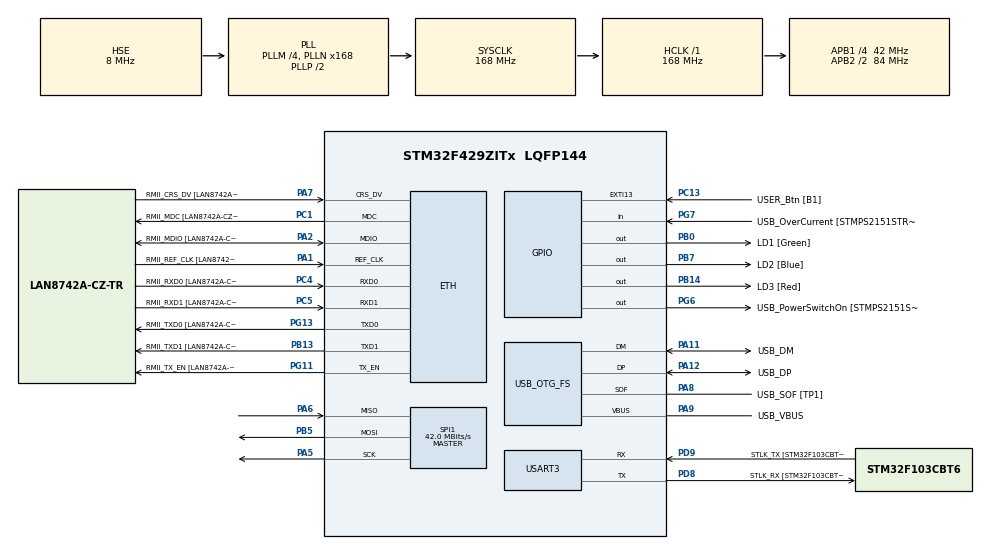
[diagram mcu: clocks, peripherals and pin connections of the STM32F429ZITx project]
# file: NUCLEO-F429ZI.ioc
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ADC1.Channel-0\#ChannelRegularConversion=ADC_CHANNEL_TEMPSENSOR
ADC1.Channel-1\#ChannelRegularConversion=ADC_CHANNEL_VREFINT
ADC1.NbrOfConversion=2
ADC1.NbrOfConversionFlag=1
ADC1.Rank-0\#ChannelRegularConversion=1
ADC1.Rank-1\#ChannelRegularConversion=2
ADC1.SamplingTime-0\#ChannelRegularConversion=ADC_SAMPLETIME_480CYCLES
ADC1.SamplingTime-1\#ChannelRegularConversion=ADC_SAMPLETIME_480CYCLES
ADC1.ScanConvMode=ENABLE
ADC1.master=1
ETH.MediaInterface=HAL_ETH_RMII_MODE
ETH.PHY_Name=LAN8742A_PHY_ADDRESS
ETH.PHY_Value=0
ETH.PhyAddress=0
LWIP.BSP.number=1
LWIP.GATEWAY_ADDRESS=192.168.001.001
LWIP.IP_ADDRESS=192.168.001.080
LWIP.LWIP_DHCP=0
LWIP.LWIP_DNS=1
LWIP.LWIP_STATS=1
LWIP.MEMP_NUM_PBUF=10
LWIP.MEMP_NUM_TCP_PCB_LISTEN=2
LWIP.MEM_SIZE=4096
LWIP.NETMASK_ADDRESS=255.255.255.000
LWIP.PBUF_POOL_BUFSIZE=256
LWIP.PBUF_POOL_SIZE=128
LWIP.Version=v2.1.2_Cube
LWIP0.BSP.STBoard=false
LWIP0.BSP.api=BSP_COMPONENT_DRIVER
LWIP0.BSP.component=LAN8742
LWIP0.BSP.instance=LAN8742
LWIP0.BSP.name=Driver_PHY
LWIP0.BSP.semaphore=S_LAN8742
LWIP0.BSP.solution=LAN8742
Mcu.Family=STM32F4
Mcu.Name=STM32F429ZITx
Mcu.Package=LQFP144
NVIC.PriorityGroup=NVIC_PRIORITYGROUP_4
PA1.GPIO_Label=RMII_REF_CLK [LAN8742A-CZ-TR_REFCLK0]
PA1.Mode=RMII
PA1.Signal=ETH_REF_CLK
PA10.GPIO_Label=USB_ID
PA10.Signal=USB_OTG_FS_ID
PA11.GPIO_Label=USB_DM
PA11.Mode=Device_Only
PA11.Signal=USB_OTG_FS_DM
PA12.GPIO_Label=USB_DP
PA12.Mode=Device_Only
PA12.Signal=USB_OTG_FS_DP
PA13.GPIO_Label=TMS
PA13.Mode=Serial_Wire
PA13.Signal=SYS_JTMS-SWDIO
PA14.GPIO_Label=TCK
PA14.Mode=Serial_Wire
PA14.Signal=SYS_JTCK-SWCLK
PA2.GPIO_Label=RMII_MDIO [LAN8742A-CZ-TR_MDIO]
PA2.Mode=RMII
PA2.Signal=ETH_MDIO
PA5.Mode=Full_Duplex_Master
PA5.Signal=SPI1_SCK
PA6.Mode=Full_Duplex_Master
PA6.Signal=SPI1_MISO
PA7.GPIO_Label=RMII_CRS_DV [LAN8742A-CZ-TR_CRS_DV]
PA7.Mode=RMII
PA7.Signal=ETH_CRS_DV
PA8.GPIO_Label=USB_SOF [TP1]
PA8.Mode=Activate_SOF_FS
PA8.Signal=USB_OTG_FS_SOF
PA9.GPIO_Label=USB_VBUS
PA9.Mode=Activate_VBUS
PA9.Signal=USB_OTG_FS_VBUS
PB0.GPIO_Label=LD1 [Green]
PB0.Signal=GPIO_Output
PB13.GPIO_Label=RMII_TXD1 [LAN8742A-CZ-TR_TXD1]
PB13.Mode=RMII
PB13.Signal=ETH_TXD1
PB14.GPIO_Label=LD3 [Red]
PB14.Signal=GPIO_Output
PB5.Mode=Full_Duplex_Master
PB5.Signal=SPI1_MOSI
PB7.GPIO_Label=LD2 [Blue]
PB7.Signal=GPIO_Output
PC1.GPIO_Label=RMII_MDC [LAN8742A-CZ-TR_MDC]
PC1.Mode=RMII
PC1.Signal=ETH_MDC
PC13.GPIO_Label=USER_Btn [B1]
PC13.Signal=GPXTI13
PC14/OSC32_IN.Mode=LSE-External-Oscillator
PC14/OSC32_IN.Signal=RCC_OSC32_IN
PC15/OSC32_OUT.Mode=LSE-External-Oscillator
PC15/OSC32_OUT.Signal=RCC_OSC32_OUT
PC4.GPIO_Label=RMII_RXD0 [LAN8742A-CZ-TR_RXD0]
PC4.Mode=RMII
PC4.Signal=ETH_RXD0
PC5.GPIO_Label=RMII_RXD1 [LAN8742A-CZ-TR_RXD1]
PC5.Mode=RMII
PC5.Signal=ETH_RXD1
PD8.GPIO_Label=STLK_RX [STM32F103CBT6_PA3]
PD8.Mode=Asynchronous
PD8.Signal=USART3_TX
PD9.GPIO_Label=STLK_TX [STM32F103CBT6_PA2]
PD9.Mode=Asynchronous
PD9.Signal=USART3_RX
PG11.GPIO_Label=RMII_TX_EN [LAN8742A-CZ-TR_TXEN]
PG11.Mode=RMII
PG11.Signal=ETH_TX_EN
PG13.GPIO_Label=RMII_TXD0 [LAN8742A-CZ-TR_TXD0]
PG13.Mode=RMII
PG13.Signal=ETH_TXD0
PG6.GPIO_Label=USB_PowerSwitchOn [STMPS2151STR_EN]
PG6.Signal=GPIO_Output
PG7.GPIO_Label=USB_OverCurrent [STMPS2151STR_FAULT]
PG7.Signal=GPIO_Input
PH0/OSC_IN.GPIO_Label=MCO [STM32F103CBT6_PA8]
PH0/OSC_IN.Mode=HSE-External-Clock-Source
PH0/OSC_IN.Signal=RCC_OSC_IN
PH1/OSC_OUT.Mode=HSE-External-Clock-Source
PH1/OSC_OUT.Signal=RCC_OSC_OUT
ProjectManager.HeapSize=0x200
ProjectManager.StackSize=0x400
ProjectManager.TargetToolchain=STM32CubeIDE
RCC.48MHZClocksFreq_Value=48000000
RCC.AHBFreq_Value=168000000
RCC.APB1CLKDivider=RCC_HCLK_DIV4
RCC.APB1Freq_Value=42000000
RCC.APB1TimFreq_Value=84000000
RCC.APB2CLKDivider=RCC_HCLK_DIV2
RCC.APB2Freq_Value=84000000
RCC.APB2TimFreq_Value=168000000
RCC.CortexFreq_Value=168000000
RCC.HCLKFreq_Value=168000000
RCC.HSE_VALUE=8000000
RCC.HSI_VALUE=16000000
RCC.PLLM=4
RCC.PLLMUL=RCC_PLL_MUL9
RCC.PLLN=168
RCC.PLLQ=7
RCC.PRESCALERUSB=RCC_USBCLKSOURCE_PLL_DIV1_5
RCC.SYSCLKFreq_VALUE=168000000
RCC.SYSCLKSource=RCC_SYSCLKSOURCE_PLLCLK
RCC.SYSCLKSourceVirtual=RCC_SYSCLKSOURCE_PLLCLK
RCC.USBFreq_Value=48000000
RCC.VCOOutputFreq_Value=336000000
SPI1.CalculateBaudRate=42.0 MBits/s
SPI1.Direction=SPI_DIRECTION_2LINES
SPI1.Mode=SPI_MODE_MASTER
SPI1.VirtualType=VM_MASTER
USART3.VirtualMode=VM_ASYNC
USB_OTG_FS.VirtualMode=Device_Only
VP_ADC1_TempSens_Input.Mode=IN-TempSens
VP_ADC1_Vref_Input.Mode=IN-Vrefint
VP_LWIP_VS_Enabled.Mode=Enabled
VP_RNG_VS_RNG.Mode=RNG_Activate
VP_RTC_VS_RTC_Activate.Mode=RTC_Enabled
VP_wolfSSL.I-CUBE-wolfSSL_VS_wolfSSLJjwolfSSL_5.8.0_5.8.0.Mode=wolfSSLJjwolfSSL
board=NUCLEO-F429ZI
wolfSSL.I-CUBE-wolfSSL.5.8.0.WOLF_CONF_DEBUG=1
wolfSSL.I-CUBE-wolfSSL.5.8.0.WOLF_CONF_IO=3
wolfSSL.I-CUBE-wolfSSL.5.8.0.wolfSSLCcwolfSSLJjwolfCryptJjCore=true
wolfSSL.I-CUBE-wolfSSL.5.8.0.wolfSSLCcwolfSSLJjwolfSSLJjCore=true

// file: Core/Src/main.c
/* USER CODE BEGIN Header */
/**
  ******************************************************************************
  * @file           : main.c
  * @brief          : Main program body
  ******************************************************************************
  * @attention
  *
  * Copyright (c) 2024 STMicroelectronics.
  * All rights reserved.
  *
  * This software is licensed under terms that can be found in the LICENSE file
  * in the root directory of this software component.
  * If no LICENSE file comes with this software, it is provided AS-IS.
  *
  ******************************************************************************
  */
/* USER CODE END Header */
#include "main.h"
#include "adc.h"
#include "lwip.h"
#include "rng.h"
#include "rtc.h"
#include "spi.h"
#include "usart.h"
#include "usb_otg.h"
#include "gpio.h"

/* USER CODE BEGIN Includes */

/* Blinky includes */
#include "rkh.h"
#include "mTime.h"

/* SALT includes */
#include "salt-signals.h"
#include "bsp-salt.h"
#include "publisher.h"
#include "blinkySysTick.h"
#include "logic.h"
#include "anIn.h"
#include "sapi_datatypes.h"
#include "onSwitch.h"
#include "relay.h"
#include "ledPanel.h"
#include "buzzer.h"
#include "pulseCounter.h"
#include "teloc.h"
#include "sim808.h"
#include "serial.h"
#include "modcmd.h"
#include "stm32f4xx_nucleo_144.h"

#include "wolfssl-tcp-conmgr.h"

#include "heartbeats.h"
#include "heartbeats_codec.h"
#include "mqtt-configuration.h"

/* USER CODE END Includes */

/* USER CODE BEGIN PD */
void SaltEnableButton(void);

/* USER CODE END PD */

/* USER CODE BEGIN PM */

/* Constants ------------------------------- */
#define PULSE_COUNTER_THR                   5
#define PULSE_COUNTER_FACTOR                0.904778684 // m/s_km/h(3.6) * pi * d_rueda(0.8m) / pulsos_revolucion(10)

#define PWR_INPUT_SAMPLE_FACTOR             0.01628664 // 10k/(604k+10k) PWR*factor=sample
#define PWR_INPUT_SAMPLE_MIN                (60*PWR_INPUT_SAMPLE_FACTOR) // 60V*factor=min_sample
#define PWR_INPUT_SAMPLE_MAX                (120*PWR_INPUT_SAMPLE_FACTOR) // 110V*factor=max_sample

#define MQTTPROT_QSTO_SIZE  16
#define CONMGR_QSTO_SIZE    16
#define LOGIC_QSTO_SIZE    16

#define SIZEOF_EP0STO       16
#define SIZEOF_EP0_BLOCK    sizeof(RKH_EVT_T)

#define SIZEOF_EP3STO 1024  // Total size in bytes (e.g., 16 events of 8 bytes each)
#define SIZEOF_EP3_BLOCK sizeof(WolfSslTcpSendEvt)  // Block size matches the event
/* USER CODE END PM */

/* USER CODE BEGIN PV */
static rbool_t initEnd = false;
static rbool_t pwrCorrect = false;

static CmdEvt e_saltCmd;

extern struct netif gnetif;
static TCP_MQTTProtCfg mqttProtCfg;
static LogicCfg logicCfg;

static RKH_ROM_STATIC_EVENT(e_Open, evOpen);
static RKH_ROM_STATIC_EVENT(e_SaltEnable, evSaltEnable);
static RKH_ROM_STATIC_EVENT(e_SaltDisable, evSaltDisable);

static RKH_EVT_T * MQTTProt_qsto[MQTTPROT_QSTO_SIZE];
static RKH_EVT_T * ConMgr_qsto[CONMGR_QSTO_SIZE];
static RKH_EVT_T * Logic_qsto[LOGIC_QSTO_SIZE];

static rui8_t evPool0Sto[SIZEOF_EP0STO];
static rui8_t evPool3Sto[SIZEOF_EP3STO];

lwip_ssl_ctx_t * ssl_ctx = NULL;
WOLFSSL_CTX * wolf_ctx = NULL;
/* USER CODE END PV */

void SystemClock_Config(void);
/* USER CODE BEGIN PFP */
#ifdef __GNUC__
#define PUTCHAR_PROTOTYPE int __io_putchar(int ch)
#else
#define PUTCHAR_PROTOTYPE int fputc(int ch, FILE *f)
#endif

PUTCHAR_PROTOTYPE
{
    HAL_UART_Transmit(&huart3, (uint8_t *)&ch, 1, HAL_MAX_DELAY);
    return ch;
}
/* USER CODE END PFP */

/* USER CODE BEGIN 0 */

static void onAnInCb(){
    if(!initEnd) {
        return;
    }

    sample_t sample = anInGetSample(anIn0);
    bool_t aux = sample > PWR_INPUT_SAMPLE_MIN && sample < PWR_INPUT_SAMPLE_MAX;
    if(aux != pwrCorrect){
        pwrCorrect = aux;
        if(pwrCorrect && onSwitchGet()){
            RKH_SMA_POST_FIFO(logic, &e_SaltEnable, 0);
        } else {
            RKH_SMA_POST_FIFO(logic, &e_SaltDisable, 0);
        }
    }
}

static void onRelayErrorCb(Relay_t relay){
    if(!initEnd){
        return;
    }

    switch(relay) {

        case feEn:
        case feDis:
        case ctEn:
        case ctDis:
            if(onSwitchGet()){ //Esto es un error solo si el switch esta activado (sino es una inconsistencia dada por la posicion del switch)
                RKH_SMA_POST_FIFO(logic, &e_SaltDisable, 0);
            }
            break;
        case feAct:
        case ctAct:
            RKH_SMA_POST_FIFO(logic, &e_SaltDisable, 0);
            break;
        default:
            break;
    }
}

static void onSwitchCb(bool_t activated) {

    if(!initEnd){
        return;
    }
    if(!pwrCorrect){
        return;
    }

    if(activated){
        RKH_SMA_POST_FIFO(logic, &e_SaltEnable, 0);
    } else {
        RKH_SMA_POST_FIFO(logic, &e_SaltDisable, 0);
    }
}

void onMQTTCb(void **state, struct mqttc_response_publish *publish) {

    printf("\n MQTT callback executed.\n");

    if(!initEnd){
        return;
    }

    char dump1[255] = {0};
    char dump2[255] = {0};
    sprintf(dump1, "MQTT topic: %.*p", MIN(publish->topic_name_size,200), &publish->topic_name);
    sprintf(dump2, "MQTT data: %.*p", MIN((int) publish->application_message_size,200), &publish->application_message);

    int result = saltCmdParse(
        (char *) publish->application_message,
        publish->application_message_size,
        &(e_saltCmd.cmd)
    );

    if (result > 0){
        RKH_SMA_POST_FIFO(logic, RKH_UPCAST(RKH_EVT_T, &e_saltCmd), 0);
    }
}

static ModCmdRcvHandler simACmdParser = NULL;

static void simACb(unsigned char c){
#ifdef DEBUG_SERIAL_PASS
    serialPutByte(UART_DEBUG,c);
#endif
    if(!initEnd){
        return;
    }

    simACmdParser(c);

}

static void simBCb(unsigned char c){
    if(!initEnd){
        return;
    }
}

static void debugCb(unsigned char c){

#ifdef DEBUG_SERIAL_PASS
    //serialPutByte(UART_DEBUG,c);
    serialPutByte(UART_SIM_808_A,c);
#endif
}

static void
saltConfig(void)
{
    /* Configuracion especifica SALT */

    /* RKH */

    RKH_SET_STATIC_EVENT(RKH_UPCAST(RKH_EVT_T, &e_saltCmd), evSaltCmd);

    /* Inicializacion SALT */

    bsp_init();
    relayInit(onRelayErrorCb);
    ledPanelInit();
    anInInit(onAnInCb);
    buzzerInit();
    onSwitchInit((onSwitchCb_t) onSwitchCb);
    pulseCounterInit(PULSE_COUNTER_THR,PULSE_COUNTER_FACTOR);
    telocInit();
    //epoch_init();
    mTime_init();

    sim808Init(SIM_808_A);
    serialSetIntCb(UART_SIM_808_A, (serialIsrCb_t) simACb);

#ifdef DEBUG_SERIAL
    serialInit(UART_DEBUG);
    serialSetIntCb(UART_DEBUG, debugCb);
#else
    sim808Init(SIM_808_B);
    serialSetIntCb(UART_SIM_808_B, (serialIsrCb_t) simBCb);
#endif

    /* Conexion de modulos */

    simACmdParser = ModCmd_init();
}

void
saltCfg_clientId(char *pid)
{
    strcpy(mqttProtCfg.clientId, pid);
}

void
saltCfg_topic(char *t)
{
    sprintf(mqttProtCfg.stateTopic, "/salt/%s", t);
    sprintf(mqttProtCfg.commandTopic, "/salt/command");
}

/*
 * @brief Key push-button

    #define USER_BUTTON_PIN                          GPIO_PIN_13
    #define USER_BUTTON_GPIO_PORT                    GPIOC
    #define USER_BUTTON_GPIO_CLK_ENABLE()            __HAL_RCC_GPIOC_CLK_ENABLE()
    #define USER_BUTTON_GPIO_CLK_DISABLE()           __HAL_RCC_GPIOC_CLK_DISABLE()
    #define USER_BUTTON_EXTI_LINE                    GPIO_PIN_13
    #define USER_BUTTON_EXTI_IRQn                    EXTI15_10_IRQn

*/
void SaltEnableButton(void) {
    // Enable the GPIOC clock
    __HAL_RCC_GPIOC_CLK_ENABLE();

    // Configure PC13 as an input with pull-up and interrupt on falling edge
    GPIO_InitTypeDef GPIO_InitStruct = {0};
    GPIO_InitStruct.Pin = GPIO_PIN_13;
    GPIO_InitStruct.Mode = GPIO_MODE_IT_FALLING; // Interrupt on falling edge
    GPIO_InitStruct.Pull = GPIO_PULLUP;          // Pull-up resistor
    HAL_GPIO_Init(GPIOC, &GPIO_InitStruct);

    //     Set up the interrupt priority and enable it
    HAL_NVIC_SetPriority(EXTI15_10_IRQn, 15, 0); // Lowest priority
    HAL_NVIC_EnableIRQ(EXTI15_10_IRQn);          // Enable interrupt
}

void EXTI15_10_IRQHandler(void) {
    // Check if the interrupt was triggered by PC13
    if (__HAL_GPIO_EXTI_GET_IT(GPIO_PIN_13) != 0x00u) {
        // Clear the interrupt flag
        __HAL_GPIO_EXTI_CLEAR_IT(GPIO_PIN_13);

        RKH_SMA_POST_FIFO(logic, RKH_UPCAST(RKH_EVT_T, &e_SaltEnable), NULL);

    }
}

/* USER CODE END 0 */

int main(void)
{
  /* USER CODE BEGIN 1 */
  bool is_initializing = true;
  saltConfig();

  /* USER CODE END 1 */

  /* MCU Configuration--------------------------------------------------------*/

  /* Reset of all peripherals, Initializes the Flash interface and the Systick. */
  HAL_Init();

  /* Configure the system clock */
  SystemClock_Config();

  /* USER CODE BEGIN SysInit */
    BSP_LED_Init(LED_BLUE);
    BSP_LED_Init(LED_GREEN);
    BSP_LED_Init(LED_RED);
    SaltEnableButton();
  /* USER CODE END SysInit */

  /* Initialize all configured peripherals */
  MX_GPIO_Init();
  MX_USART3_UART_Init();
  MX_USB_OTG_FS_PCD_Init();
  MX_SPI1_Init();
  MX_LWIP_Init();
  MX_RNG_Init();
  MX_ADC1_Init();
  MX_RTC_Init();
  /* USER CODE BEGIN 2 */

    /* Initialize RKH framework */
    rkh_fwk_init();
    rkh_dynEvt_init();

    /* Define event pool storage (simplified for this example) */
    rkh_fwk_registerEvtPool(evPool0Sto, SIZEOF_EP0STO, SIZEOF_EP0_BLOCK);
    rkh_fwk_registerEvtPool(evPool3Sto, SIZEOF_EP3STO, SIZEOF_EP3_BLOCK); //    TcpSendEvt

    /* Wait for network interface to be up */
    printf("\n --------------------------------------------------------- \n");
    printf("Waiting for network interface...\n");
    struct netif * netif = netif_default;
    while (netif == NULL || !netif_is_up(netif)) {
        MX_LWIP_Process();
        HAL_Delay(100);
    }

    printf("Waiting for link...\n");
    while (!netif_is_link_up(netif)) {
        MX_LWIP_Process();
        HAL_Delay(100);
    }
    printf("Link up - IP: %s\n", ip4addr_ntoa(&netif->ip_addr));
    HAL_Delay(1000);

    mqttProtCfg.publishTime = 5;
    mqttProtCfg.syncTime = 4;
    mqttProtCfg.keepAlive = 400;
    mqttProtCfg.qos = 1;
    strcpy(mqttProtCfg.clientId, MQTT_CLIENT_ID);
    strcpy(mqttProtCfg.stateTopic, MQTT_STATE_TOPIC);
    strcpy(mqttProtCfg.statusTopic, MQTT_STATUS_TOPIC);
    strcpy(mqttProtCfg.commandTopic, MQTT_COMMAND_TOPIC);
    strcpy(mqttProtCfg.discoveryTopic, MQTT_DISCOVERY_TOPIC);
    mqttProtCfg.discoveryEstablished = false;
    mqttProtCfg.callback = onMQTTCb;
    TCP_MQTTProt_ctor(&mqttProtCfg, publishDimba);

    logicCfg.publishTime = 20;
    logic_ctor(&logicCfg);

    RKH_SMA_ACTIVATE(wolfSslTcpConMgr, ConMgr_qsto, CONMGR_QSTO_SIZE, 0, 0);
    RKH_SMA_ACTIVATE(tcpMqttProt, MQTTProt_qsto, MQTTPROT_QSTO_SIZE, 0, 0);
    RKH_SMA_ACTIVATE(logic, Logic_qsto, LOGIC_QSTO_SIZE, 0,0);

    RKH_SMA_POST_FIFO(wolfSslTcpConMgr, RKH_UPCAST(RKH_EVT_T, &e_Open), NULL);

    initEnd = true;

    rkh_fwk_enter();
    return 0;
  /* USER CODE END 2 */

  /* Infinite loop */
  /* USER CODE BEGIN WHILE */
  /* USER CODE END 3 */
}

void SystemClock_Config(void)
{
  RCC_OscInitTypeDef RCC_OscInitStruct = {0};
  RCC_ClkInitTypeDef RCC_ClkInitStruct = {0};

  /** Configure the main internal regulator output voltage
  */
  __HAL_RCC_PWR_CLK_ENABLE();
  __HAL_PWR_VOLTAGESCALING_CONFIG(PWR_REGULATOR_VOLTAGE_SCALE1);

  /** Initializes the RCC Oscillators according to the specified parameters
  * in the RCC_OscInitTypeDef structure.
  */
  RCC_OscInitStruct.OscillatorType = RCC_OSCILLATORTYPE_LSI|RCC_OSCILLATORTYPE_HSE;
  RCC_OscInitStruct.HSEState = RCC_HSE_BYPASS;
  RCC_OscInitStruct.LSIState = RCC_LSI_ON;
  RCC_OscInitStruct.PLL.PLLState = RCC_PLL_ON;
  RCC_OscInitStruct.PLL.PLLSource = RCC_PLLSOURCE_HSE;
  RCC_OscInitStruct.PLL.PLLM = 4;
  RCC_OscInitStruct.PLL.PLLN = 168;
  RCC_OscInitStruct.PLL.PLLP = RCC_PLLP_DIV2;
  RCC_OscInitStruct.PLL.PLLQ = 7;
  if (HAL_RCC_OscConfig(&RCC_OscInitStruct) != HAL_OK)
  {
    Error_Handler();
  }

  /** Initializes the CPU, AHB and APB buses clocks
  */
  RCC_ClkInitStruct.ClockType = RCC_CLOCKTYPE_HCLK|RCC_CLOCKTYPE_SYSCLK
                              |RCC_CLOCKTYPE_PCLK1|RCC_CLOCKTYPE_PCLK2;
  RCC_ClkInitStruct.SYSCLKSource = RCC_SYSCLKSOURCE_PLLCLK;
  RCC_ClkInitStruct.AHBCLKDivider = RCC_SYSCLK_DIV1;
  RCC_ClkInitStruct.APB1CLKDivider = RCC_HCLK_DIV4;
  RCC_ClkInitStruct.APB2CLKDivider = RCC_HCLK_DIV2;

  if (HAL_RCC_ClockConfig(&RCC_ClkInitStruct, FLASH_LATENCY_5) != HAL_OK)
  {
    Error_Handler();
  }
}

void Error_Handler(void)
{
  __disable_irq();
  while (1)
  {
  }
}
